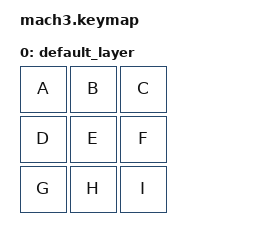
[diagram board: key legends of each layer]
#include <behaviors.dtsi>
#include <dt-bindings/zmk/keys.h>
#include <dt-bindings/zmk/bt.h>

/ {
    keymap {
        compatible = "zmk,keymap";

        default_layer {
// -----------------------------
// |   A   |    B    |    C    |
// |   D   |    E    |    F    |
// |   G   |    H    |    I    |
// -----------------------------
            bindings = <
    &kp A    &kp B    &kp C
    &kp D    &kp E    &kp F
    &kp G    &kp H    &kp I
            >;
        };
    };
};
